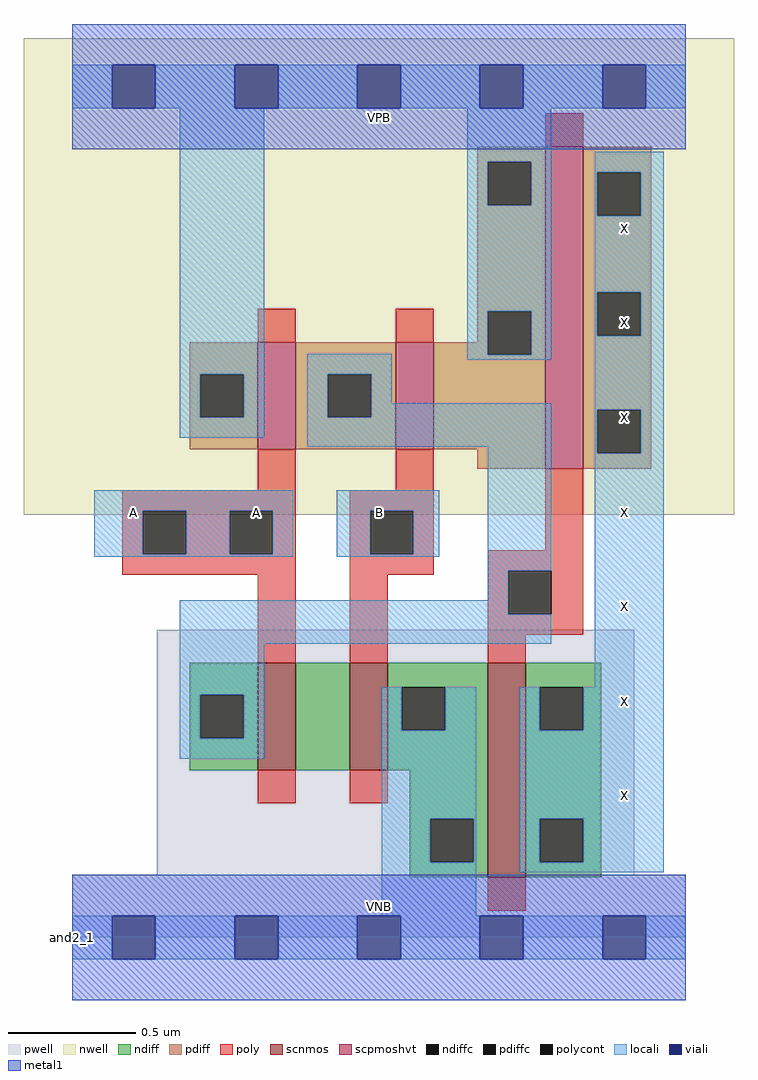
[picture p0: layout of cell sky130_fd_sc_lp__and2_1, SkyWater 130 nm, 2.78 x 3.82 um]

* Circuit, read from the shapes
.subckt sky130_fd_sc_lp__and2_1 A B VGND VNB VPB VPWR X
XM1 n1 A n2 VNB sky130_fd_pr__nfet_01v8 w=0.42 l=0.15
XM2 VGND B n1 VNB sky130_fd_pr__nfet_01v8 w=0.42 l=0.15
XM3 X n2 VGND VNB sky130_fd_pr__nfet_01v8 w=0.84 l=0.15
XM4 n2 A VPWR VPB sky130_fd_pr__pfet_01v8_hvt w=0.42 l=0.15
XM5 VPWR B n2 VPB sky130_fd_pr__pfet_01v8_hvt w=0.42 l=0.15
XM6 X n2 VPWR VPB sky130_fd_pr__pfet_01v8_hvt w=1.26 l=0.15
.ends

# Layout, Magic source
magic
tech sky130A
magscale 1 2
<< nwell >>
rect -38 331 518 704
<< pwell >>
rect 66 49 440 241
rect 0 0 480 49
<< scnmos >>
rect 145 131 175 215
rect 217 131 247 215
rect 325 47 355 215
<< scpmoshvt >>
rect 145 382 175 466
rect 253 382 283 466
rect 370 367 400 619
<< ndiff >>
rect 92 190 145 215
rect 92 156 100 190
rect 134 156 145 190
rect 92 131 145 156
rect 175 131 217 215
rect 247 196 325 215
rect 247 162 258 196
rect 292 162 325 196
rect 247 131 325 162
rect 264 93 325 131
rect 264 59 280 93
rect 314 59 325 93
rect 264 47 325 59
rect 355 196 414 215
rect 355 162 366 196
rect 400 162 414 196
rect 355 93 414 162
rect 355 59 366 93
rect 400 59 414 93
rect 355 47 414 59
<< pdiff >>
rect 317 607 370 619
rect 317 573 325 607
rect 359 573 370 607
rect 317 490 370 573
rect 317 466 325 490
rect 92 441 145 466
rect 92 407 100 441
rect 134 407 145 441
rect 92 382 145 407
rect 175 441 253 466
rect 175 407 200 441
rect 234 407 253 441
rect 175 382 253 407
rect 283 456 325 466
rect 359 456 370 490
rect 283 382 370 456
rect 317 367 370 382
rect 400 599 453 619
rect 400 565 411 599
rect 445 565 453 599
rect 400 505 453 565
rect 400 471 411 505
rect 445 471 453 505
rect 400 413 453 471
rect 400 379 411 413
rect 445 379 453 413
rect 400 367 453 379
<< ndiffc >>
rect 100 156 134 190
rect 258 162 292 196
rect 280 59 314 93
rect 366 162 400 196
rect 366 59 400 93
<< pdiffc >>
rect 325 573 359 607
rect 100 407 134 441
rect 200 407 234 441
rect 325 456 359 490
rect 411 565 445 599
rect 411 471 445 505
rect 411 379 445 413
<< poly >>
rect 370 619 400 645
rect 145 466 175 492
rect 253 466 283 492
rect 145 350 175 382
rect 253 350 283 382
rect 39 334 175 350
rect 39 300 55 334
rect 89 300 123 334
rect 157 300 175 334
rect 39 284 175 300
rect 145 215 175 284
rect 217 334 283 350
rect 217 300 233 334
rect 267 300 283 334
rect 370 303 400 367
rect 217 284 283 300
rect 325 287 400 303
rect 217 215 247 284
rect 325 253 341 287
rect 375 253 400 287
rect 325 237 400 253
rect 325 215 355 237
rect 145 105 175 131
rect 217 105 247 131
rect 325 21 355 47
<< polycont >>
rect 55 300 89 334
rect 123 300 157 334
rect 233 300 267 334
rect 341 253 375 287
<< locali >>
rect 0 649 31 683
rect 65 649 127 683
rect 161 649 223 683
rect 257 649 319 683
rect 353 649 415 683
rect 449 649 480 683
rect 84 441 150 649
rect 309 607 375 649
rect 309 573 325 607
rect 359 573 375 607
rect 309 490 375 573
rect 84 407 100 441
rect 134 407 150 441
rect 84 391 150 407
rect 184 441 250 457
rect 309 456 325 490
rect 359 456 375 490
rect 309 452 375 456
rect 409 599 463 615
rect 409 565 411 599
rect 445 565 463 599
rect 409 505 463 565
rect 409 471 411 505
rect 445 471 463 505
rect 184 407 200 441
rect 234 418 250 441
rect 234 407 375 418
rect 184 384 375 407
rect 17 334 173 350
rect 17 300 55 334
rect 89 300 123 334
rect 157 300 173 334
rect 17 298 173 300
rect 207 334 287 350
rect 207 300 233 334
rect 267 300 287 334
rect 207 298 287 300
rect 325 287 375 384
rect 325 264 341 287
rect 84 253 341 264
rect 84 230 375 253
rect 409 413 463 471
rect 409 379 411 413
rect 445 379 463 413
rect 84 190 150 230
rect 409 196 463 379
rect 84 156 100 190
rect 134 156 150 190
rect 84 140 150 156
rect 242 162 258 196
rect 292 162 316 196
rect 242 93 316 162
rect 242 59 280 93
rect 314 59 316 93
rect 242 17 316 59
rect 350 162 366 196
rect 400 162 463 196
rect 350 93 463 162
rect 350 59 366 93
rect 400 59 463 93
rect 350 51 463 59
rect 0 -17 31 17
rect 65 -17 127 17
rect 161 -17 223 17
rect 257 -17 319 17
rect 353 -17 415 17
rect 449 -17 480 17
<< viali >>
rect 31 649 65 683
rect 127 649 161 683
rect 223 649 257 683
rect 319 649 353 683
rect 415 649 449 683
rect 31 -17 65 17
rect 127 -17 161 17
rect 223 -17 257 17
rect 319 -17 353 17
rect 415 -17 449 17
<< metal1 >>
rect 0 683 480 715
rect 0 649 31 683
rect 65 649 127 683
rect 161 649 223 683
rect 257 649 319 683
rect 353 649 415 683
rect 449 649 480 683
rect 0 617 480 649
rect 0 17 480 49
rect 0 -17 31 17
rect 65 -17 127 17
rect 161 -17 223 17
rect 257 -17 319 17
rect 353 -17 415 17
rect 449 -17 480 17
rect 0 -49 480 -17
<< labels >>
flabel pwell s 0 0 480 49 0 FreeSans 200 0 0 0 VNB
port 4 nsew ground bidirectional
flabel nwell s 0 617 480 666 0 FreeSans 200 0 0 0 VPB
port 5 nsew power bidirectional
rlabel comment s 0 0 0 0 4 and2_1
flabel metal1 s 0 617 480 666 0 FreeSans 340 0 0 0 VPWR
port 6 nsew power bidirectional
flabel metal1 s 0 0 480 49 0 FreeSans 340 0 0 0 VGND
port 3 nsew ground bidirectional
flabel locali s 415 94 449 128 0 FreeSans 340 0 0 0 X
port 7 nsew signal output
flabel locali s 415 168 449 202 0 FreeSans 340 0 0 0 X
port 7 nsew signal output
flabel locali s 415 242 449 276 0 FreeSans 340 0 0 0 X
port 7 nsew signal output
flabel locali s 415 316 449 350 0 FreeSans 340 0 0 0 X
port 7 nsew signal output
flabel locali s 415 390 449 424 0 FreeSans 340 0 0 0 X
port 7 nsew signal output
flabel locali s 415 464 449 498 0 FreeSans 340 0 0 0 X
port 7 nsew signal output
flabel locali s 415 538 449 572 0 FreeSans 340 0 0 0 X
port 7 nsew signal output
flabel locali s 31 316 65 350 0 FreeSans 340 0 0 0 A
port 1 nsew signal input
flabel locali s 223 316 257 350 0 FreeSans 340 0 0 0 B
port 2 nsew signal input
flabel locali s 127 316 161 350 0 FreeSans 340 0 0 0 A
port 1 nsew signal input
<< properties >>
string LEFsite unit
string LEFclass CORE
string FIXED_BBOX 0 0 480 666
string GDS_FILE $PDKPATH/libs.ref/sky130_fd_sc_lp/gds/sky130_fd_sc_lp.gds
string LEFsymmetry X Y R90
string GDS_END 3573134
string GDS_START 3567958
<< end >>
